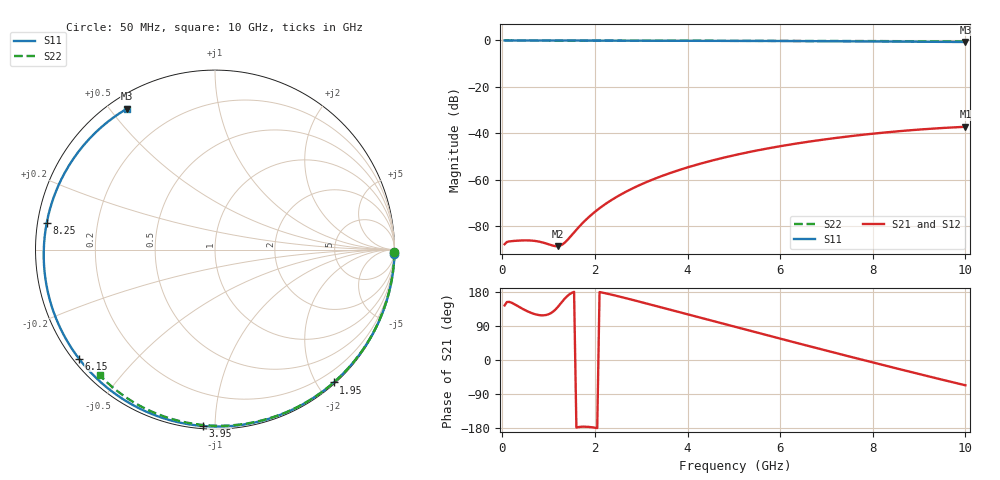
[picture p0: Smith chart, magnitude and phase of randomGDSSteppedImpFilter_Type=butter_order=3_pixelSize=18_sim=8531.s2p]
! freq	dB(S11)	phase(S11)	dB(S12)	phase(S12)
!  dB(S21)	phase(S21)	dB(S22)	phase(S22)
!S-par simulation data
#  GHz  S  DB  R 50
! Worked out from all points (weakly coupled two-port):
!   200 points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, 50 MHz to 10 GHz, reference 50 ohm
!   highest |S21| = -37.22 dB at 10 GHz (marker M1); lowest = -88.7 dB at 1.2 GHz (marker M2)
!   lowest |S11| = -0.7 dB at 10 GHz (marker M3), VSWR 25.95, Z = 2.52 + j27.7 ohm
!   |S11| at or under -10 dB: nowhere
!   |S22| runs from -0.4 to 0.0 dB; largest |S21 - S12| = 0
!   S11 on the Smith chart (normalised r, x): 50 MHz: 0, -91; 1.95 GHz: 0.02, -2.23; 3.95 GHz: 0.01, -0.93; 6.15 GHz: 0.02, -0.35; 8.25 GHz: 0.03, +0.08; 10 GHz: 0.05, +0.55
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0.05  -0.00 -1.3  -87.84 144.0  -87.84 144.0  -0.00 -0.8
0.6  -0.01 -15.1  -86.23 125.4  -86.23 125.4  -0.01 -9.2
1.2  -0.04 -30.0  -88.68 140.1  -88.68 140.1  -0.02 -18.2
1.65  -0.05 -41.0  -80.48 -176.9  -80.48 -176.9  -0.03 -24.9
1.75  -0.06 -43.4  -78.39 -175.9  -78.39 -175.9  -0.03 -26.4
1.95  -0.06 -48.2  -74.70 -177.7  -74.70 -177.7  -0.04 -29.4
2.25  -0.07 -55.3  -70.19 175.5  -70.19 175.5  -0.04 -33.8
2.6  -0.08 -63.5  -65.96 165.3  -65.96 165.3  -0.05 -38.9
3  -0.09 -72.8  -62.03 152.7  -62.03 152.7  -0.06 -44.6
3.4  -0.11 -81.8  -58.77 139.9  -58.77 139.9  -0.07 -50.3
3.95  -0.13 -94.0  -55.03 122.2  -55.03 122.2  -0.08 -58.0
4.5  -0.15 -106.0  -51.92 104.5  -51.92 104.5  -0.09 -65.5
5.05  -0.18 -117.8  -49.29 86.8  -49.29 86.8  -0.11 -72.8
6.15  -0.25 -141.3  -45.08 51.6  -45.08 51.6  -0.15 -87.0
6.7  -0.30 -153.2  -43.39 34.2  -43.39 34.2  -0.18 -93.8
7.5  -0.37 -171.2  -41.30 9.1  -41.30 9.1  -0.23 -103.5
8.25  -0.45 170.9  -39.70 -14.1  -39.70 -14.1  -0.28 -112.4
8.35  -0.46 168.4  -39.51 -17.2  -39.51 -17.2  -0.29 -113.6
8.8  -0.52 156.8  -38.72 -30.9  -38.72 -30.9  -0.33 -118.8
9.2  -0.57 145.8  -38.13 -43.0  -38.13 -43.0  -0.36 -123.4
9.6  -0.62 134.3  -37.63 -55.0  -37.63 -55.0  -0.40 -128.0
10  -0.67 122.0  -37.22 -66.7  -37.22 -66.7  -0.45 -132.6
